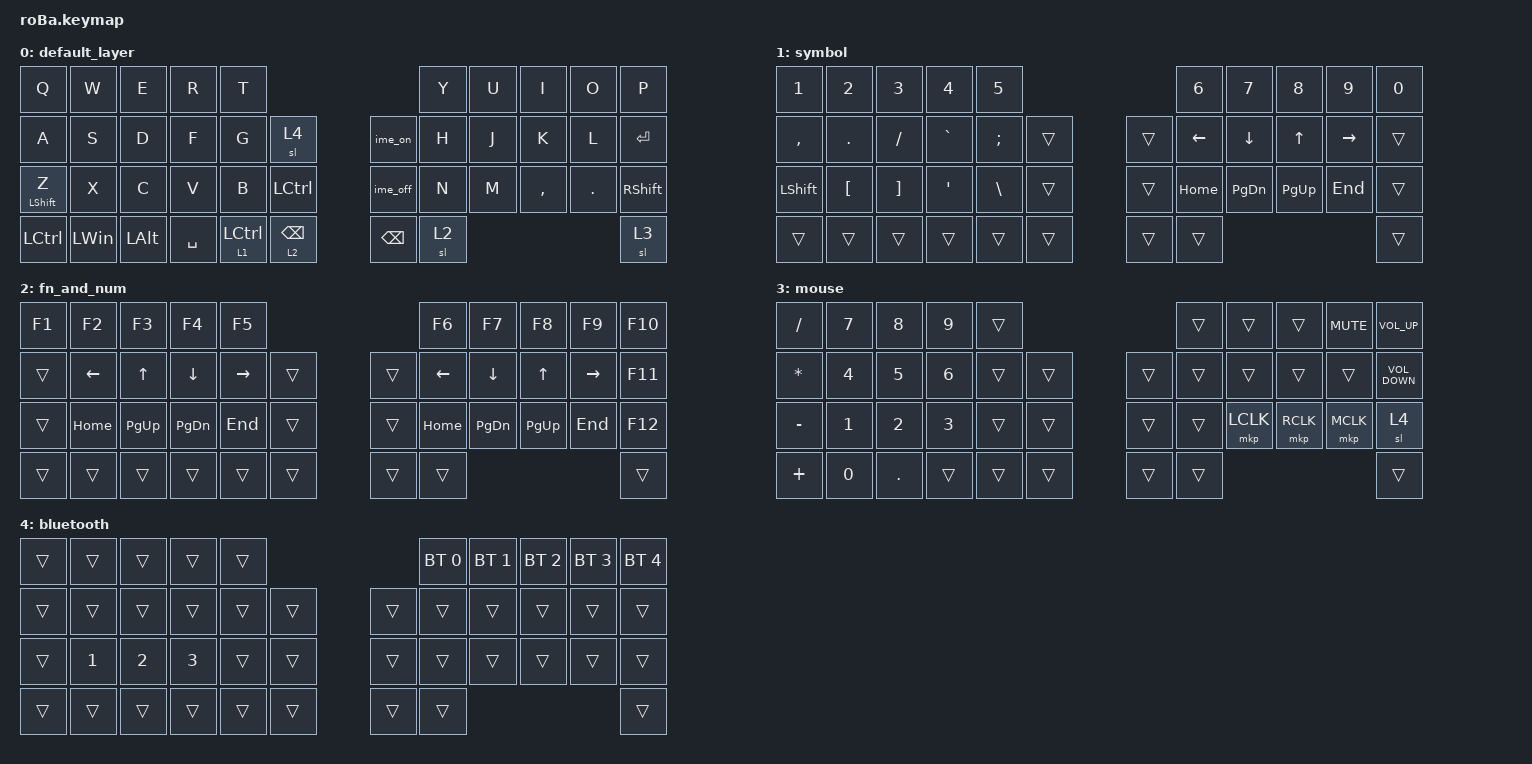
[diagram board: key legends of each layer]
#include <behaviors.dtsi>
#include <dt-bindings/zmk/bt.h>
#include <dt-bindings/zmk/keys.h>
#include <dt-bindings/zmk/pointing.h>

&mt {
    flavor = "balanced";
    quick-tap-ms = <0>;
    tapping-term-ms = <400>;
};

&trackball {
    // automouse-layer = <3>;

    scroll-layers = <4>;

    // arrows {
    //     layers = <3>;
    //     bizip_temp_layerndings =
    //         <&kp RIGHT_ARROW>,
    //         <&kp LEFT_ARROW>,
    //         <&kp UP_ARROW>,
    //         <&kp DOWN_ARROW>;
    //     tick = <10>;
    //     wait-ms = <5>;
    //     tap-ms = <5>;
    // };
};

/ {
    combos {
        compatible = "zmk,combos";

        tab {
            bindings = <&kp TAB>;
            key-positions = <12 13>;
            timeout-ms = <70>;
        };

        shift_space {
            bindings = <&kp LS(SPACE)>;
            key-positions = <18 19>;
        };

        z {
            bindings = <&kp Z>;
            key-positions = <22 23>;
        };

        minus {
            bindings = <&kp MINUS>;
            key-positions = <19 20>;
        };

        equal {
            bindings = <&kp EQUAL>;
            key-positions = <7 8>;
        };

        parenthesis {
            bindings = <&parenthesis>;
            key-positions = <1 2>;
        };

        bracket {
            bindings = <&bracket>;
            key-positions = <2 3>;
        };

        brace {
            bindings = <&brace>;
            key-positions = <4 3>;
        };

        single_quote {
            bindings = <&single_quote>;
            key-positions = <23 24>;
        };

        double_quote {
            bindings = <&double_quotes>;
            key-positions = <24 25>;
        };

        appostrophe {
            bindings = <&apostrophe>;
            key-positions = <26 25>;
        };

        esc2 {
            bindings = <&kp ESCAPE>;
            key-positions = <11 12>;
            layers = <0 2 3 4>;
        };

        enter {
            bindings = <&kp ENTER>;
            key-positions = <13 14>;
        };

        delete {
            bindings = <&kp DELETE>;
            key-positions = <11 12>;
            layers = <1>;
        };

        pausebreak {
            bindings = <&kp PAUSE_BREAK>;
            key-positions = <8 9>;
        };

        clearBT {
            bindings = <&bt BT_CLR>;
            key-positions = <0 1>;
            layers = <4>;
        };

        clearBTall {
            bindings = <&bt BT_CLR_ALL>;
            key-positions = <3 4>;
            layers = <4>;
        };

        scroll {
            bindings = <&sl 4>;
            key-positions = <13 12 11>;
        };

        scroll2 {
            bindings = <&sl 4>;
            key-positions = <30 31 32>;
        };

        left_clk {
            bindings = <&mkp LCLK>;
            key-positions = <30 31>;
        };

        right_clk {
            bindings = <&mkp RCLK>;
            key-positions = <31 32>;
        };

        mdl_clk {
            bindings = <&mkp MCLK>;
            key-positions = <32 33>;
        };
    };

    behaviors {
        hold_tap_balance: hold_tap_balance {
            compatible = "zmk,behavior-hold-tap";
            label = "HOLD_TAP_BALANCE";
            #binding-cells = <2>;
            flavor = "tap-preferred";
            tapping-term-ms = <200>;
            bindings = <&kp>, <&kp>;

            quick-tap-ms = <150>;
        };

        layer_normalkey: layer_normalkey {
            compatible = "zmk,behavior-hold-tap";
            label = "LAYER_NORMALKEY";
            bindings = <&sl>, <&kp>;

            #binding-cells = <2>;
            tapping-term-ms = <200>;
            flavor = "hold-preferred";
            quick-tap-ms = <180>;
        };

        layer_ctrl: layer_ctrl {
            compatible = "zmk,behavior-hold-tap";
            label = "LAYER_CTRL";
            bindings = <&sl>, <&kp>;

            #binding-cells = <2>;
            tapping-term-ms = <200>;
            flavor = "hold-preferred";
            quick-tap-ms = <200>;
        };
    };

    macros {
        parenthesis: parenthesis {
            compatible = "zmk,behavior-macro";
            #binding-cells = <0>;
            bindings = <&kp LPAR &kp RPAR>;
            label = "PARENTHESIS";
        };

        bracket: bracket {
            compatible = "zmk,behavior-macro";
            #binding-cells = <0>;
            bindings = <&kp LEFT_BRACKET &kp RIGHT_BRACKET>;
            label = "BRACKET";
        };

        brace: brace {
            compatible = "zmk,behavior-macro";
            #binding-cells = <0>;
            bindings = <&kp LBRC &kp RBRC>;
            label = "BRACE";
        };

        single_quote: single_quote {
            compatible = "zmk,behavior-macro";
            #binding-cells = <0>;
            bindings = <&kp SQT &kp SQT>;
            label = "SINGLE_QUOTE";
        };

        double_quotes: double_quotes {
            compatible = "zmk,behavior-macro";
            #binding-cells = <0>;
            bindings = <&kp DQT &kp DQT>;
            label = "DOUBLE_QUOTES";
        };

        apostrophe: apostrophe {
            compatible = "zmk,behavior-macro";
            #binding-cells = <0>;
            bindings = <&kp GRAVE &kp GRAVE>;
            label = "APOSTROPHE";
        };

        ime_on: ime_on {
            compatible = "zmk,behavior-macro";
            #binding-cells = <0>;
            bindings = <&kp LC(F16)>;
            label = "IME_ON";
        };

        ime_off: ime_off {
            compatible = "zmk,behavior-macro";
            #binding-cells = <0>;
            bindings = <&kp LC(F17)>;
            label = "IME_OFF";
        };
    };

    keymap {
        compatible = "zmk,keymap";

        default_layer {
            bindings = <
&kp Q                           &kp W         &kp E         &kp R      &kp T                                                                 &kp Y  &kp U  &kp I      &kp O    &kp P
&kp A                           &kp S         &kp D         &kp F      &kp G                &sl 4                             &ime_on        &kp H  &kp J  &kp K      &kp L    &kp ENTER
&hold_tap_balance LEFT_SHIFT Z  &kp X         &kp C         &kp V      &kp B                &kp LCTRL                         &ime_off       &kp N  &kp M  &kp COMMA  &kp DOT  &kp RIGHT_SHIFT
&kp LCTRL                       &kp LEFT_WIN  &kp LEFT_ALT  &kp SPACE  &layer_ctrl 1 LCTRL  &layer_normalkey 2 BACKSPACE      &kp BACKSPACE  &sl 2                             &sl 3
            >;
        };

        symbol {
            bindings = <
&kp NUMBER_1    &kp NUMBER_2      &kp NUMBER_3       &kp NUMBER_4  &kp NUMBER_5                       &kp NUMBER_6    &kp NUMBER_7    &kp NUMBER_8  &kp NUMBER_9     &kp NUMBER_0
&kp COMMA       &kp DOT           &kp SLASH          &kp GRAVE     &kp SEMI       &trans      &trans  &kp LEFT_ARROW  &kp DOWN_ARROW  &kp UP_ARROW  &kp RIGHT_ARROW  &trans
&kp LEFT_SHIFT  &kp LEFT_BRACKET  &kp RIGHT_BRACKET  &kp SQT       &kp BACKSLASH  &trans      &trans  &kp HOME        &kp PAGE_DOWN   &kp PAGE_UP   &kp END          &trans
&trans          &trans            &trans             &trans        &trans         &trans      &trans  &trans                                                         &trans
            >;
        };

        fn_and_num {
            bindings = <
&kp F1  &kp F2          &kp F3        &kp F4          &kp F5                               &kp F6          &kp F7          &kp F8        &kp F9           &kp F10
&trans  &kp LEFT_ARROW  &kp UP_ARROW  &kp DOWN_ARROW  &kp RIGHT_ARROW  &trans      &trans  &kp LEFT_ARROW  &kp DOWN_ARROW  &kp UP_ARROW  &kp RIGHT_ARROW  &kp F11
&trans  &kp HOME        &kp PAGE_UP   &kp PAGE_DOWN   &kp END          &trans      &trans  &kp HOME        &kp PAGE_DOWN   &kp PAGE_UP   &kp END          &kp F12
&trans  &trans          &trans        &trans          &trans           &trans      &trans  &trans                                                         &trans
            >;
        };

        mouse {
            bindings = <
&kp SLASH     &kp NUMBER_7  &kp NUMBER_8  &kp NUMBER_9  &trans                      &trans  &trans     &trans     &kp K_MUTE  &kp C_VOLUME_UP
&kp ASTERISK  &kp NUMBER_4  &kp NUMBER_5  &kp NUMBER_6  &trans  &trans      &trans  &trans  &trans     &trans     &trans      &kp C_VOLUME_DOWN
&kp MINUS     &kp NUMBER_1  &kp NUMBER_2  &kp NUMBER_3  &trans  &trans      &trans  &trans  &mkp LCLK  &mkp RCLK  &mkp MCLK   &sl 4
&kp PLUS      &kp NUMBER_0  &kp PERIOD    &trans        &trans  &trans      &trans  &trans                                    &trans
            >;
        };

        bluetooth {
            bindings = <
&trans  &trans        &trans        &trans        &trans                      &bt BT_SEL 0  &bt BT_SEL 1  &bt BT_SEL 2  &bt BT_SEL 3  &bt BT_SEL 4
&trans  &trans        &trans        &trans        &trans  &trans      &trans  &trans        &trans        &trans        &trans        &trans
&trans  &kp NUMBER_1  &kp NUMBER_2  &kp NUMBER_3  &trans  &trans      &trans  &trans        &trans        &trans        &trans        &trans
&trans  &trans        &trans        &trans        &trans  &trans      &trans  &trans                                                  &trans
            >;
        };
    };
};
